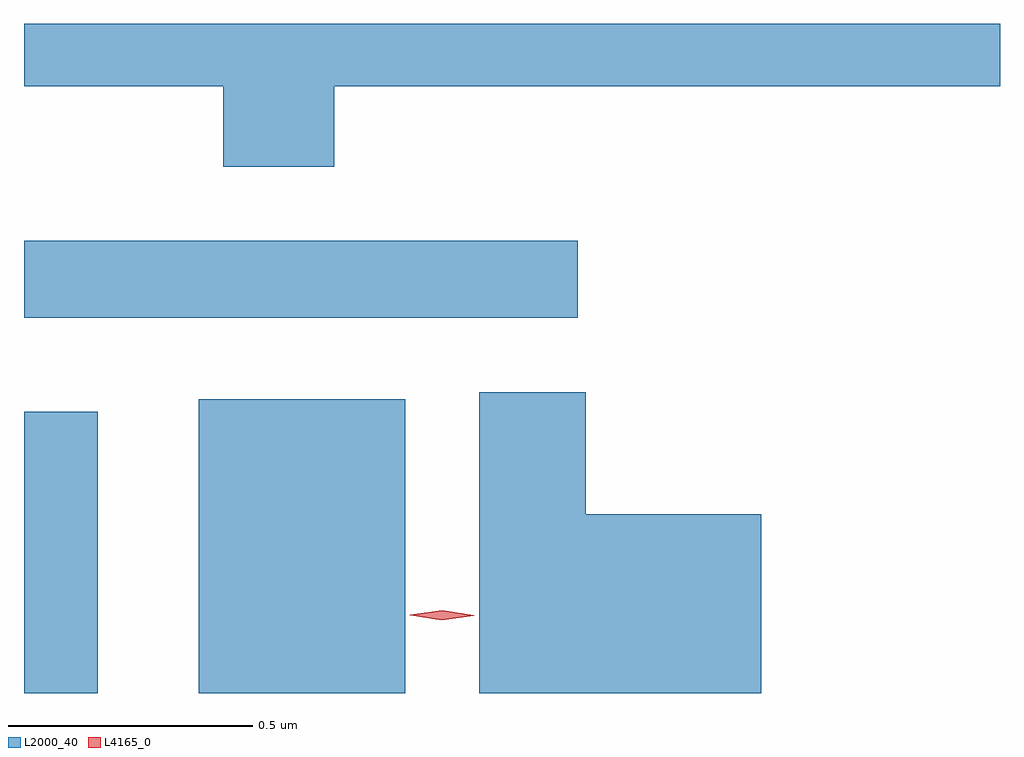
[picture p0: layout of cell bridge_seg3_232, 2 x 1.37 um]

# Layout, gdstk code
import gdstk
lib = gdstk.Library(unit=1e-6, precision=1e-09)
def R(c, l, rs):  # rectangles x0, y0, x1, y1
    for r in rs: c.add(gdstk.rectangle(r[:2], r[2:], *l))
def P(c, l, *ps):  # polygons
    for p in ps: c.add(gdstk.Polygon(p, *l))
L2000_40 = (2000, 40)
L4165_0 = (4165, 0)

bridge_seg3_232 = lib.new_cell('bridge_seg3_232')
R(bridge_seg3_232, L2000_40, [(952.123,1115.892,952.274,1116.469), (952.481,1115.892,952.904,1116.494), (952.123,1116.661,953.258,1116.819)])
P(bridge_seg3_232, L2000_40, [(952.759,1117.136),(954.123,1117.136),(954.123,1117.264),(952.123,1117.264),(952.123,1117.136),(952.531,1117.136),(952.531,1116.971),(952.759,1116.971)],
  [(953.634,1116.259),(953.274,1116.259),(953.274,1116.509),(953.056,1116.509),(953.056,1115.892),(953.634,1115.892)])
P(bridge_seg3_232, L4165_0, [(952.979,1116.042),(952.914,1116.052),(952.913,1116.052),(952.914,1116.053),(952.98,1116.062),(953.045,1116.052),(953.046,1116.051),(953.045,1116.051)])

lib.write_gds('bridge_seg3_232.gds')
